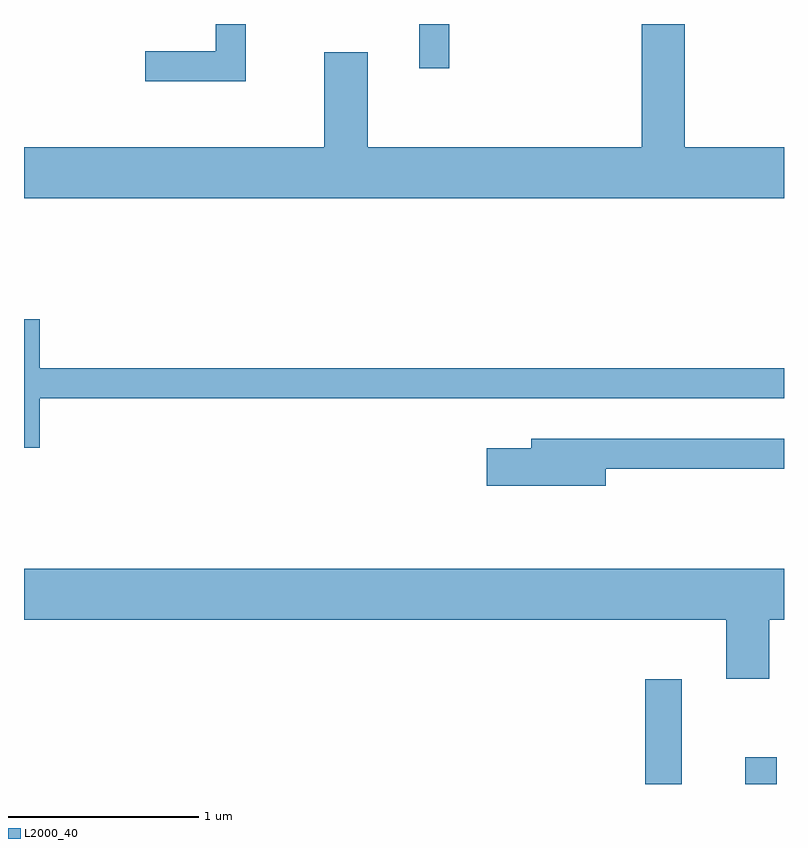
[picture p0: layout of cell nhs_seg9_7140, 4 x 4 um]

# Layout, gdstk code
import gdstk
lib = gdstk.Library(unit=1e-6, precision=1e-09)
def R(c, l, rs):  # rectangles x0, y0, x1, y1
    for r in rs: c.add(gdstk.rectangle(r[:2], r[2:], *l))
def P(c, l, *ps):  # polygons
    for p in ps: c.add(gdstk.Polygon(p, *l))
L2000_40 = (2000, 40)

nhs_seg9_7140 = lib.new_cell('nhs_seg9_7140')
R(nhs_seg9_7140, L2000_40, [(398.881,2066.432,399.074,2066.984), (399.406,2066.432,399.574,2066.573), (397.691,2070.198,397.849,2070.432)])
P(nhs_seg9_7140, L2000_40, [(399.611,2069.784),(399.089,2069.784),(399.089,2070.432),(398.861,2070.432),(398.861,2069.784),(397.419,2069.784),(397.419,2070.284),(397.191,2070.284),(397.191,2069.784),(395.611,2069.784),(395.611,2069.516),(399.611,2069.516)],
  [(396.779,2070.432),(396.621,2070.432),(396.621,2070.289),(396.248,2070.289),(396.248,2070.131),(396.779,2070.131)],
  [(395.694,2068.461),(399.611,2068.461),(399.611,2068.619),(395.694,2068.619),(395.694,2068.879),(395.611,2068.879),(395.611,2068.201),(395.694,2068.201)],
  [(398.674,2068.091),(399.611,2068.091),(399.611,2068.249),(398.281,2068.249),(398.281,2068.199),(398.046,2068.199),(398.046,2068.001),(398.674,2068.001)],
  [(399.534,2067.296),(399.611,2067.296),(399.611,2067.564),(395.611,2067.564),(395.611,2067.296),(399.306,2067.296),(399.306,2066.986),(399.534,2066.986)])

lib.write_gds('nhs_seg9_7140.gds')
